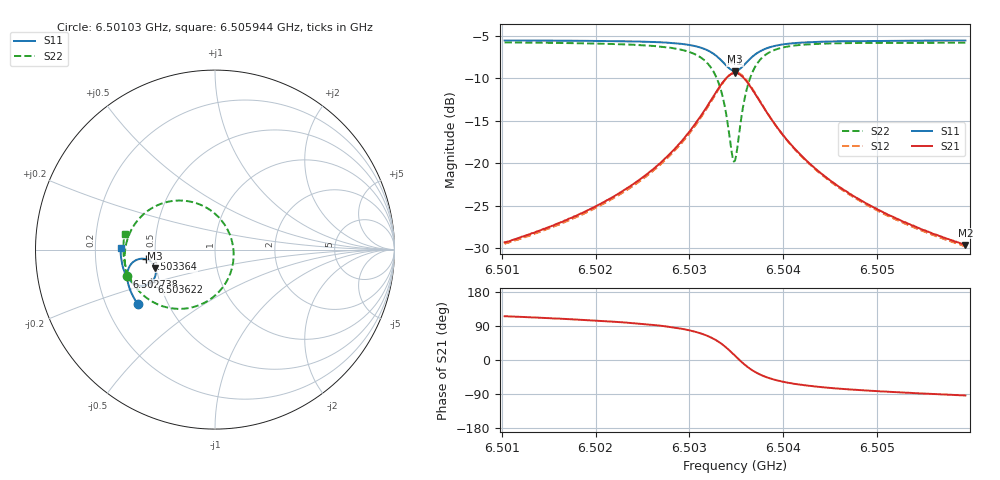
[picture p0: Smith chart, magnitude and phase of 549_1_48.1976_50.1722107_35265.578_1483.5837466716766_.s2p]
#  HZ  S  RI  R  50.00
! Rohde & Schwarz Vector Network Analyzer
! Rohde-Schwarz,ZNB20-2Port,1311601062101988,3.16
! Created: UTC 3/20/2024, 12:00:42 PM
! freq[Hz]  re:S11  im:S11  re:S21  im:S21  re:S12  im:S12  re:S22  im:S22
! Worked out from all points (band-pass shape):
!   401 points, 6.50103 GHz to 6.505944 GHz, reference 50 ohm
!   highest |S21| = -9.40 dB at 6.503487 GHz (marker M1); lowest = -29.6 dB at 6.505944 GHz (marker M2)
!   |S21| within 3 dB of the highest: 6.503242 GHz to 6.503733 GHz (491.6 kHz wide, 0.00756 % of centre)
!   lowest |S11| = -9.1 dB at 6.503487 GHz (marker M3), VSWR 2.07, Z = 24.6 - j5.82 ohm
!   |S11| at or under -10 dB: nowhere
!   |S22| runs from -19.8 to -5.8 dB; largest |S21 - S12| = 0.011
!   S11 on the Smith chart (normalised r, x): 6.50103 GHz: 0.34, -0.29; 6.502738 GHz: 0.33, -0.14; 6.503364 GHz: 0.44, -0.05; 6.503622 GHz: 0.45, -0.19; 6.505944 GHz: 0.31, +0.01
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6.5010301e9  -0.4298 -0.305  -0.0148 0.031  -0.0132 0.031  -0.4916 -0.1483
6.5018532e9  -0.4647 -0.2435  -0.0141 0.0489  -0.0116 0.0486  -0.5037 -0.0597
6.5023078e9  -0.4804 -0.2027  -0.011 0.069  -0.00807 0.0677  -0.4997 0.00619
6.5026764e9  -0.4888 -0.1611  -0.00173 0.099  0.00199 0.0966  -0.4791 0.0817
6.5027378e9  -0.4892 -0.1528  0.00158 0.1061  0.00526 0.1036  -0.472 0.0977
6.5029589e9  -0.4857 -0.1178  0.0237 0.1414  0.0272 0.1373  -0.4263 0.1687
6.5031186e9  -0.4712 -0.0855  0.0631 0.1776  0.0656 0.172  -0.3497 0.2321
6.5032661e9  -0.4333 -0.0558  0.1448 0.2066  0.1453 0.2004  -0.2011 0.2735
6.5033643e9  -0.3867 -0.0529  0.2362 0.1899  0.2363 0.1856  -0.0428 0.2308
6.5034503e9  -0.3437 -0.0819  0.3146 0.1155  0.3172 0.1118  0.0825 0.0842
6.5034749e9  -0.3356 -0.0962  0.3278 0.0836  0.3314 0.079  0.0995 0.0242
6.5034872e9  -0.3329 -0.104  0.3324 0.0666  0.3361 0.0617  0.1034 -0.00723
6.5035118e9  -0.3299 -0.1203  0.336 0.032  0.34 0.0256  0.1011 -0.0707
6.5035486e9  -0.332 -0.1443  0.3286 -0.0183  0.3324 -0.0266  0.074 -0.1597
6.5036223e9  -0.3541 -0.1817  0.282 -0.0948  0.2822 -0.106  -0.036 -0.2832
6.5037329e9  -0.3998 -0.2018  0.195 -0.1403  0.1899 -0.1499  -0.2122 -0.33
6.5038926e9  -0.4472 -0.1922  0.1108 -0.1365  0.1041 -0.1417  -0.3635 -0.2815
6.5040646e9  -0.4753 -0.171  0.0652 -0.1155  0.059 -0.1178  -0.4372 -0.2151
6.5043103e9  -0.4962 -0.1411  0.0346 -0.0903  0.0298 -0.0909  -0.4813 -0.1414
6.5046543e9  -0.5112 -0.1044  0.0161 -0.0675  0.0128 -0.0673  -0.5035 -0.0701
6.5051334e9  -0.5213 -0.0594  0.00528 -0.0492  0.00286 -0.0487  -0.5106 -0.000271
6.5059443e9  -0.5264 0.00962  -0.0021 -0.0331  -0.00332 -0.0324  -0.5032 0.0868
